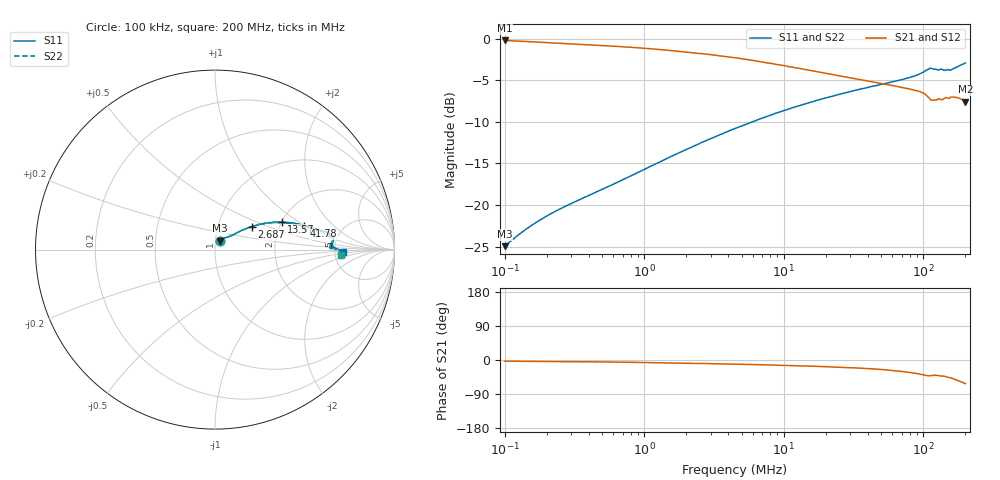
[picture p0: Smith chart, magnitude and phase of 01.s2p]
#  HZ  S  RI  R  50.00
! Rohde & Schwarz Vector Network Analyzer
! Rohde-Schwarz,ZNLE6-2Port,1323001256200024,1.71.1.10-23.02.1.238
! Created: UTC 4/7/2025, 10:17:24 AM
! freq[Hz]  re:S11  im:S11  re:S21  im:S21  re:S12  im:S12  re:S22  im:S22
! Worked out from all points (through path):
!   1001 points, 100 kHz to 200 MHz, reference 50 ohm
!   highest |S21| = -0.22 dB at 100 kHz (marker M1); lowest = -7.6 dB at 200 MHz (marker M2)
!   group delay of S21, straight-line fit = 786 ps
!   lowest |S11| = -24.9 dB at 100 kHz (marker M3), VSWR 1.12, Z = 52.4 + j5.28 ohm
!   |S11| at or under -10 dB: start of sweep to 5.913 MHz
!   |S22| runs from -24.9 to -3.1 dB; largest |S21 - S12| = 0.019
!   S11 on the Smith chart (normalised r, x): 100 kHz: 1.05, +0.11; 2.687 MHz: 1.45, +0.39; 13.57 MHz: 2.00, +0.73; 41.78 MHz: 2.73, +0.97; 200 MHz: 5.99, -0.39
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100000  0.0263 0.0502  0.9741 -0.0505  0.9743 -0.0502  0.0262 0.0502
138657.8  0.0394 0.0585  0.961 -0.0588  0.9613 -0.0586  0.0393 0.0585
182297.8  0.0517 0.0637  0.9488 -0.0641  0.9491 -0.0639  0.0516 0.0637
355854.1  0.0811 0.0731  0.9196 -0.0738  0.92 -0.0737  0.081 0.0731
1266322  0.1463 0.1056  0.8548 -0.1088  0.8551 -0.109  0.146 0.1055
2397897  0.1943 0.1247  0.8062 -0.131  0.8065 -0.1302  0.1941 0.1244
2687485  0.2053 0.1271  0.7997 -0.1289  0.7948 -0.1405  0.2039 0.1289
4472136  0.2518 0.1408  0.7543 -0.1464  0.7471 -0.1554  0.2511 0.142
1.356642e7  0.3707 0.1537  0.6329 -0.1798  0.631 -0.1826  0.3709 0.1523
1.591428e7  0.3886 0.1517  0.6158 -0.1821  0.612 -0.1883  0.3886 0.1517
2.945577e7  0.4572 0.1438  0.5468 -0.2019  0.5443 -0.2047  0.4579 0.141
4.178475e7  0.4979 0.13  0.5085 -0.2149  0.5018 -0.2311  0.4957 0.1318
5.663162e7  0.5293 0.123  0.4713 -0.2372  0.4641 -0.2481  0.528 0.1223
7.617267e7  0.5669 0.1123  0.4267 -0.2654  0.4207 -0.2759  0.5624 0.1109
9.495745e7  0.6076 0.1029  0.3806 -0.2921  0.3746 -0.3015  0.6017 0.097
1.040259e8  0.6363 0.0931  0.3485 -0.3007  0.3424 -0.3084  0.6297 0.0846
1.12241e8  0.6611 0.0622  0.3217 -0.2852  0.3157 -0.2913  0.6511 0.0504
1.20188e8  0.6538 0.0377  0.3265 -0.2779  0.3201 -0.2833  0.6419 0.0273
1.367661e8  0.6525 0.0116  0.3185 -0.2892  0.3098 -0.2934  0.6424 0.0103
1.592205e8  0.6528 0.0123  0.2987 -0.3305  0.2863 -0.3374  0.6506 0.00789
1.798107e8  0.6857 0.00195  0.2501 -0.3615  0.2383 -0.3701  0.6746 -0.00123
2e8  0.7147 -0.0157  0.1946 -0.3704  0.1864 -0.378  0.6996 -0.0294
